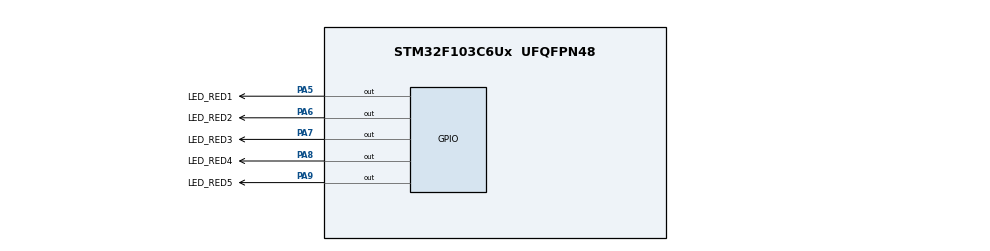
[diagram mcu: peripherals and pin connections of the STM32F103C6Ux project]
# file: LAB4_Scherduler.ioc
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Mcu.Family=STM32F1
Mcu.Name=STM32F103C6Ux
Mcu.Package=UFQFPN48
NVIC.PriorityGroup=NVIC_PRIORITYGROUP_4
NVIC.TIM2_IRQn=true\:0\:0\:false\:false\:true\:true\:true\:true
PA5.GPIO_Label=LED_RED1
PA5.Signal=GPIO_Output
PA6.GPIO_Label=LED_RED2
PA6.Signal=GPIO_Output
PA7.GPIO_Label=LED_RED3
PA7.Signal=GPIO_Output
PA8.GPIO_Label=LED_RED4
PA8.Signal=GPIO_Output
PA9.GPIO_Label=LED_RED5
PA9.Signal=GPIO_Output
ProjectManager.HeapSize=0x200
ProjectManager.StackSize=0x400
ProjectManager.TargetToolchain=STM32CubeIDE
RCC.APB1Freq_Value=8000000
RCC.APB2Freq_Value=8000000
TIM2.Period=9
TIM2.Prescaler=7999
VP_SYS_VS_ND.Mode=No_Debug
VP_TIM2_VS_ClockSourceINT.Mode=Internal
board=custom

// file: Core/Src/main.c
/* USER CODE BEGIN Header */
/**
  ******************************************************************************
  * @file           : main.c
  * @brief          : Main program body
  ******************************************************************************
  * @attention
  *
  * Copyright (c) 2025 STMicroelectronics.
  * All rights reserved.
  *
  * This software is licensed under terms that can be found in the LICENSE file
  * in the root directory of this software component.
  * If no LICENSE file comes with this software, it is provided AS-IS.
  *
  ******************************************************************************
  */
/* USER CODE END Header */
#include "main.h"

/* USER CODE BEGIN Includes */
#include "scheduler.h"
/* USER CODE END Includes */

TIM_HandleTypeDef htim2;

/* USER CODE BEGIN PV */
uint32_t g_task_X_id = NO_TASK_ID;
/* USER CODE END PV */

void SystemClock_Config(void);
static void MX_GPIO_Init(void);
static void MX_TIM2_Init(void);

/* USER CODE BEGIN 0 */
void task_Led1_Toggle(void){
	HAL_GPIO_TogglePin(LED_RED1_GPIO_Port, LED_RED1_Pin);
}
// Tác vụ 2: 1.0 giây (PA6)
void task_Led2_Toggle(void) {
	HAL_GPIO_TogglePin(LED_RED2_GPIO_Port, LED_RED2_Pin); // Led2
}

// Tác vụ 3: 1.5 giây (PA7)
void task_Led3_Toggle(void) {
	HAL_GPIO_TogglePin(LED_RED3_GPIO_Port, LED_RED3_Pin); // Led3
}

// Tác vụ 4: 2.0 giây (PA8)
void task_Led4_Toggle(void) {
	HAL_GPIO_TogglePin(LED_RED4_GPIO_Port, LED_RED4_Pin); // Led4
}

// Tác vụ 5: 2.5 giây (PA9)
void task_Led5_Toggle(void) {
	//HAL_GPIO_TogglePin(LED_RED5_GPIO_Port, LED_RED5_Pin); // Led5
	HAL_GPIO_WritePin(LED_RED5_GPIO_Port, LED_RED5_Pin, RESET);
}

void task_Delete_Led1(void) {
    if (g_task_X_id != NO_TASK_ID) {
        SCH_Delete_Task(g_task_X_id);
    }
}
/* USER CODE END 0 */

int main(void)
{

  /* MCU Configuration--------------------------------------------------------*/

  /* Reset of all peripherals, Initializes the Flash interface and the Systick. */
  HAL_Init();

  /* Configure the system clock */
  SystemClock_Config();

  /* Initialize all configured peripherals */
  MX_GPIO_Init();
  MX_TIM2_Init();
  /* USER CODE BEGIN 2 */
  HAL_TIM_Base_Start_IT(&htim2);
  /* USER CODE END 2 */

  /* Infinite loop */
  /* USER CODE BEGIN WHILE */
  SCH_Init();

  g_task_X_id = SCH_Add_Task(task_Led1_Toggle, 0, 500);  // 0.5s

  SCH_Add_Task(task_Led2_Toggle, 100, 1000); // 1.0s
  SCH_Add_Task(task_Led3_Toggle, 200, 1500); // 1.5s
  SCH_Add_Task(task_Led4_Toggle, 300, 2000); // 2.0s

  SCH_Add_Task(task_Led5_Toggle, 400, 0); // one shot task

  SCH_Add_Task(task_Delete_Led1, 5000, 0);
//////
  while (1)
  {
	  SCH_Dispatch_Tasks();
    /* USER CODE END WHILE */

  }
}

void SystemClock_Config(void)
{
  RCC_OscInitTypeDef RCC_OscInitStruct = {0};
  RCC_ClkInitTypeDef RCC_ClkInitStruct = {0};

  /** Initializes the RCC Oscillators according to the specified parameters
  * in the RCC_OscInitTypeDef structure.
  */
  RCC_OscInitStruct.OscillatorType = RCC_OSCILLATORTYPE_HSI;
  RCC_OscInitStruct.HSIState = RCC_HSI_ON;
  RCC_OscInitStruct.HSICalibrationValue = RCC_HSICALIBRATION_DEFAULT;
  RCC_OscInitStruct.PLL.PLLState = RCC_PLL_NONE;
  if (HAL_RCC_OscConfig(&RCC_OscInitStruct) != HAL_OK)
  {
    Error_Handler();
  }

  /** Initializes the CPU, AHB and APB buses clocks
  */
  RCC_ClkInitStruct.ClockType = RCC_CLOCKTYPE_HCLK|RCC_CLOCKTYPE_SYSCLK
                              |RCC_CLOCKTYPE_PCLK1|RCC_CLOCKTYPE_PCLK2;
  RCC_ClkInitStruct.SYSCLKSource = RCC_SYSCLKSOURCE_HSI;
  RCC_ClkInitStruct.AHBCLKDivider = RCC_SYSCLK_DIV1;
  RCC_ClkInitStruct.APB1CLKDivider = RCC_HCLK_DIV1;
  RCC_ClkInitStruct.APB2CLKDivider = RCC_HCLK_DIV1;

  if (HAL_RCC_ClockConfig(&RCC_ClkInitStruct, FLASH_LATENCY_0) != HAL_OK)
  {
    Error_Handler();
  }
}

static void MX_TIM2_Init(void)
{

  TIM_ClockConfigTypeDef sClockSourceConfig = {0};
  TIM_MasterConfigTypeDef sMasterConfig = {0};

  htim2.Instance = TIM2;
  htim2.Init.Prescaler = 7999;
  htim2.Init.CounterMode = TIM_COUNTERMODE_UP;
  htim2.Init.Period = 9;
  htim2.Init.ClockDivision = TIM_CLOCKDIVISION_DIV1;
  htim2.Init.AutoReloadPreload = TIM_AUTORELOAD_PRELOAD_DISABLE;
  if (HAL_TIM_Base_Init(&htim2) != HAL_OK)
  {
    Error_Handler();
  }
  sClockSourceConfig.ClockSource = TIM_CLOCKSOURCE_INTERNAL;
  if (HAL_TIM_ConfigClockSource(&htim2, &sClockSourceConfig) != HAL_OK)
  {
    Error_Handler();
  }
  sMasterConfig.MasterOutputTrigger = TIM_TRGO_RESET;
  sMasterConfig.MasterSlaveMode = TIM_MASTERSLAVEMODE_DISABLE;
  if (HAL_TIMEx_MasterConfigSynchronization(&htim2, &sMasterConfig) != HAL_OK)
  {
    Error_Handler();
  }

}

static void MX_GPIO_Init(void)
{
  GPIO_InitTypeDef GPIO_InitStruct = {0};

  /* GPIO Ports Clock Enable */
  __HAL_RCC_GPIOA_CLK_ENABLE();

  /*Configure GPIO pin Output Level */
  HAL_GPIO_WritePin(GPIOA, LED_RED1_Pin|LED_RED2_Pin|LED_RED3_Pin|LED_RED4_Pin
                          |LED_RED5_Pin, GPIO_PIN_RESET);

  /*Configure GPIO pins : LED_RED1_Pin LED_RED2_Pin LED_RED3_Pin LED_RED4_Pin
                           LED_RED5_Pin */
  GPIO_InitStruct.Pin = LED_RED1_Pin|LED_RED2_Pin|LED_RED3_Pin|LED_RED4_Pin
                          |LED_RED5_Pin;
  GPIO_InitStruct.Mode = GPIO_MODE_OUTPUT_PP;
  GPIO_InitStruct.Pull = GPIO_NOPULL;
  GPIO_InitStruct.Speed = GPIO_SPEED_FREQ_LOW;
  HAL_GPIO_Init(GPIOA, &GPIO_InitStruct);

}

/* USER CODE BEGIN 4 */
void HAL_TIM_PeriodElapsedCallback(TIM_HandleTypeDef *htim){
	SCH_Update();
}
/* USER CODE END 4 */

void Error_Handler(void)
{
  __disable_irq();
  while (1)
  {
  }
}
